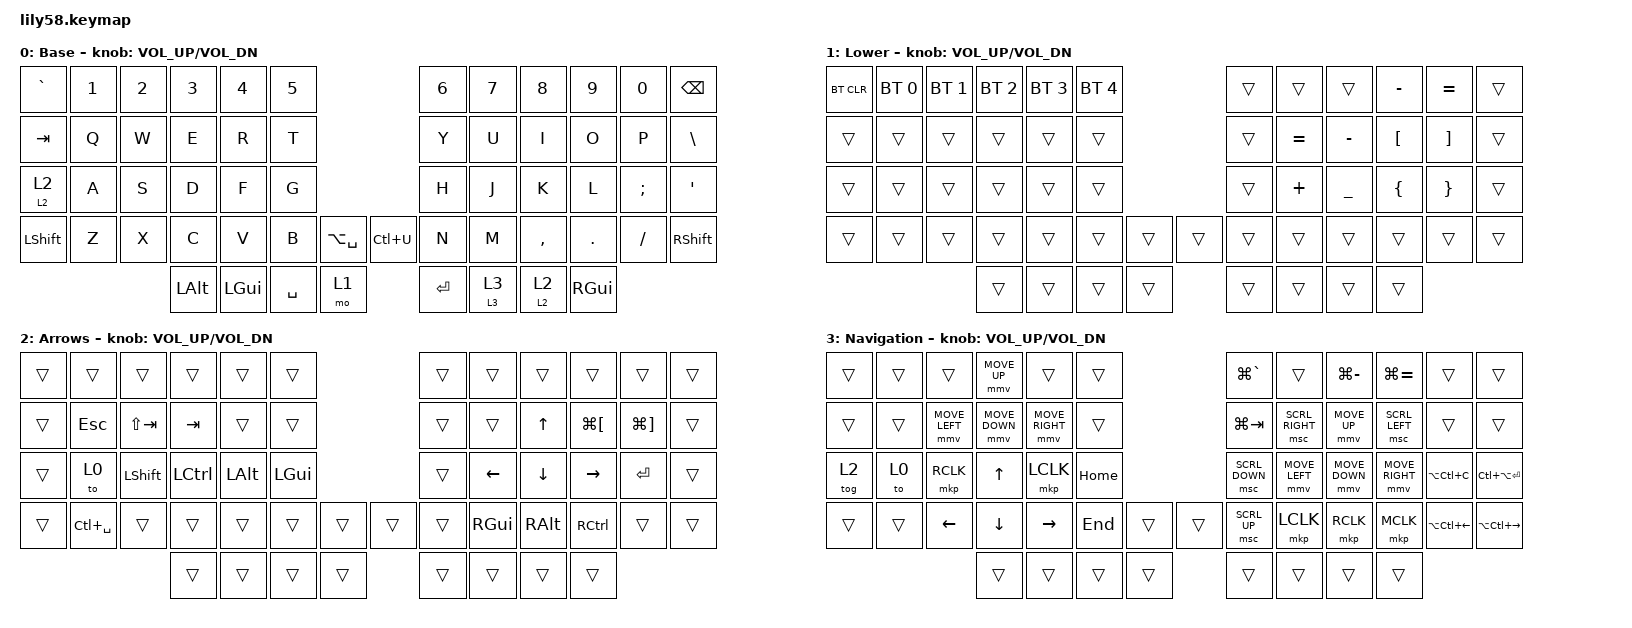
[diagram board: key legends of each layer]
/*
 * Copyright (c) 2020 The ZMK Contributors
 *
 * SPDX-License-Identifier: MIT
 */

#include <behaviors.dtsi>
#include <dt-bindings/zmk/bt.h>
#include <dt-bindings/zmk/keys.h>
#include <dt-bindings/zmk/pointing.h>

/* Custom Device-tree */
#define ZMK_POINTING_DEFAULT_MOVE_VAL 2000
#define ZMK_POINTING_DEFAULT_SCRL_VAL 15

/ {
    behaviors {
        mmv: mouse_move {
            compatible = "zmk,behavior-input-two-axis";
            #binding-cells = <1>;
            x-input-code = <INPUT_REL_X>;
            y-input-code = <INPUT_REL_Y>;
            time-to-max-speed-ms = <800>;
            acceleration-exponent = <1>;
        };
    };

    behaviors {
        msc: mouse_scroll {
            compatible = "zmk,behavior-input-two-axis";
            #binding-cells = <1>;
            x-input-code = <INPUT_REL_HWHEEL>;
            y-input-code = <INPUT_REL_WHEEL>;
            time-to-max-speed-ms = <300>;
            acceleration-exponent = <0>;
        };
    };
};

/ {
    behaviors {
        ltaphold: ltaphold {
            compatible = "zmk,behavior-hold-tap";
            #binding-cells = <2>;
            tapping-term-ms = <200>;
            bindings = <&mo>, <&sl>;

            flavor = "balanced";
        };
    };
};

/ {
    keymap {
        compatible = "zmk,keymap";

        default_layer {
            display-name = "Base";
            bindings = <
&kp GRAVE      &kp N1  &kp N2  &kp N3    &kp N4    &kp N5                                 &kp N6  &kp N7         &kp N8     &kp N9   &kp N0    &kp BSPC
&kp TAB        &kp Q   &kp W   &kp E     &kp R     &kp T                                  &kp Y   &kp U          &kp I      &kp O    &kp P     &kp BACKSLASH
&ltaphold 2 2  &kp A   &kp S   &kp D     &kp F     &kp G                                  &kp H   &kp J          &kp K      &kp L    &kp SEMI  &kp SQT
&kp LSHFT      &kp Z   &kp X   &kp C     &kp V     &kp B      &kp LA(SPACE)    &kp LC(U)  &kp N   &kp M          &kp COMMA  &kp DOT  &kp FSLH  &kp RSHFT
                               &kp LALT  &kp LGUI  &kp SPACE  &mo 1            &kp RET    &ltaphold 3 3   &ltaphold 2 2  &kp RGUI
            >;

            sensor-bindings = <&inc_dec_kp C_VOL_UP C_VOL_DN>;
        };

        lower_layer {
            display-name = "Lower";
            bindings = <
&bt BT_CLR  &bt BT_SEL 0  &bt BT_SEL 1  &bt BT_SEL 2  &bt BT_SEL 3  &bt BT_SEL 4                    &trans  &trans     &trans          &kp MINUS         &kp EQUAL          &trans
&trans      &trans        &trans        &trans        &trans        &trans                          &trans  &kp EQUAL  &kp MINUS       &kp LEFT_BRACKET  &kp RIGHT_BRACKET  &trans
&trans      &trans        &trans        &trans        &trans        &trans                          &trans  &kp PLUS   &kp UNDERSCORE  &kp LEFT_BRACE            &kp RIGHT_BRACE             &trans
&trans      &trans        &trans        &trans        &trans        &trans        &trans    &trans  &trans  &trans     &trans          &trans            &trans             &trans
                                        &trans        &trans        &trans        &trans    &trans  &trans  &trans     &trans
            >;

            sensor-bindings = <&inc_dec_kp C_VOL_UP C_VOL_DN>;
        };

        arrow_layer {
            display-name = "Arrows";
            bindings = <
&trans  &trans         &trans       &trans     &trans    &trans                      &trans  &trans    &trans    &trans        &trans        &trans
&trans  &kp ESC         &kp LS(TAB)  &kp TAB    &trans    &trans                      &trans  &trans    &kp UP    &kp LG(LBKT)  &kp LG(RBKT)  &trans
&trans  &to 0          &kp LSHFT    &kp LCTRL  &kp LALT  &kp LGUI                    &trans  &kp LEFT  &kp DOWN  &kp RIGHT     &kp RET       &trans
&trans  &kp LC(SPACE)  &trans       &trans     &trans    &trans    &trans    &trans  &trans  &kp RGUI  &kp RALT  &kp RCTRL     &trans        &trans
                                    &trans     &trans    &trans    &trans    &trans  &trans  &trans    &trans
            >;

            sensor-bindings = <&inc_dec_kp C_VOL_UP C_VOL_DN>;
        };

        navigation_layer {
            display-name = "Navigation";
            bindings = <
&trans  &trans  &trans          &mmv MOVE_UP    &trans           &trans                    &kp LG(GRAVE)          &trans           &kp LG(MINUS)   &kp LG(EQUAL)    &trans            &trans
&trans  &trans  &mmv MOVE_LEFT  &mmv MOVE_DOWN  &mmv MOVE_RIGHT  &trans                    &kp LG(TAB)          &msc SCRL_RIGHT  &mmv MOVE_UP    &msc SCRL_LEFT   &trans            &trans
&tog 2  &to 0   &mkp RCLK       &kp UP          &mkp LCLK        &kp HOME                    &msc SCRL_DOWN  &mmv MOVE_LEFT   &mmv MOVE_DOWN  &mmv MOVE_RIGHT  &kp LA(LC(C))     &kp LC(LA(ENTER))
&trans  &trans  &kp LEFT        &kp DOWN        &kp RIGHT        &kp END  &trans    &trans  &msc SCRL_UP    &mkp LCLK        &mkp RCLK       &mkp MCLK        &kp LA(LC(LEFT))  &kp LA(LC(RIGHT))
                                &trans          &trans           &trans  &trans    &trans  &trans          &trans           &trans
            >;

            sensor-bindings = <&inc_dec_kp C_VOL_UP C_VOL_DN>;
        };

        extra_2 { status = "reserved"; };

        extra_3 { status = "reserved"; };
    };
};
